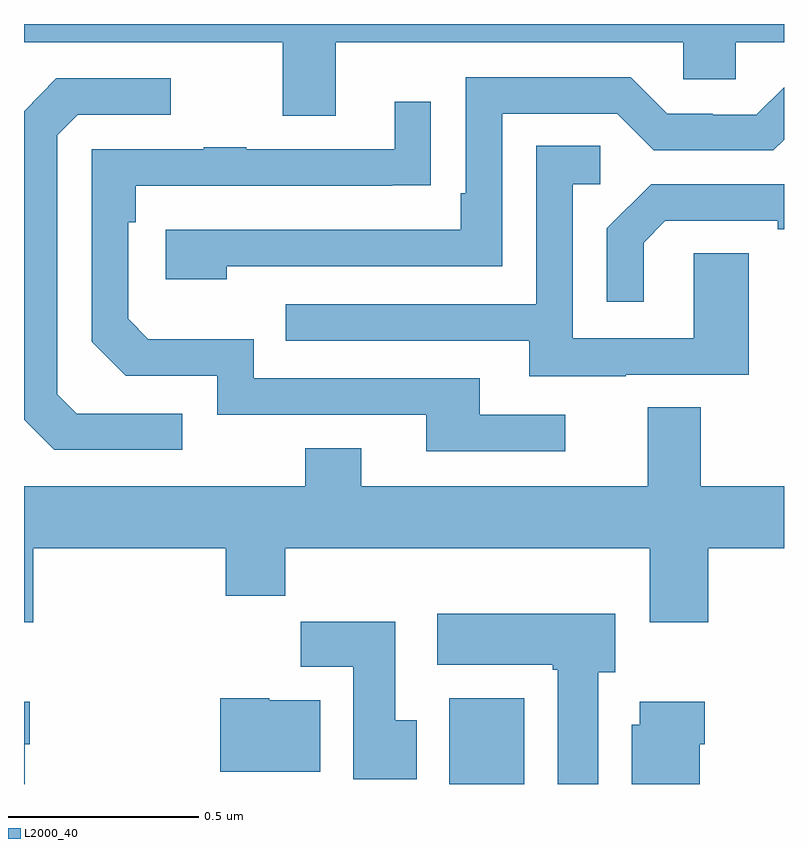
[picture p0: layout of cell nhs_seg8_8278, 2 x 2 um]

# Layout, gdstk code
import gdstk
lib = gdstk.Library(unit=1e-6, precision=1e-09)
def R(c, l, rs):  # rectangles x0, y0, x1, y1
    for r in rs: c.add(gdstk.rectangle(r[:2], r[2:], *l))
def P(c, l, *ps):  # polygons
    for p in ps: c.add(gdstk.Polygon(p, *l))
L2000_40 = (2000, 40)

nhs_seg8_8278 = lib.new_cell('nhs_seg8_8278')
R(nhs_seg8_8278, L2000_40, [(222.119,1095.9,222.316,1096.126)])
P(nhs_seg8_8278, L2000_40, [(221.821,1097.852),(222.735,1097.852),(222.735,1097.754),(222.873,1097.754),(222.873,1097.852),(223,1097.852),(223,1097.9),(221,1097.9),(221,1097.852),(221.681,1097.852),(221.681,1097.658),(221.821,1097.658)],
  [(221.534,1097.262),(222.258,1097.262),(222.258,1097.664),(222.561,1097.664),(222.657,1097.568),(222.972,1097.568),(223,1097.596),(223,1097.734),(222.927,1097.661),(222.812,1097.661),(222.812,1097.664),(222.693,1097.664),(222.597,1097.76),(222.162,1097.76),(222.162,1097.455),(222.149,1097.455),(222.149,1097.358),(221.373,1097.358),(221.373,1097.228),(221.534,1097.228)],
  [(221.416,1096.875),(221.139,1096.875),(221.088,1096.926),(221.088,1097.607),(221.142,1097.661),(221.386,1097.661),(221.386,1097.757),(221.085,1097.757),(221,1097.671),(221,1096.858),(221.079,1096.779),(221.416,1096.779)],
  [(222.424,1096.872),(222.199,1096.872),(222.199,1096.968),(221.604,1096.968),(221.604,1097.071),(221.327,1097.071),(221.274,1097.124),(221.274,1097.378),(221.294,1097.378),(221.294,1097.475),(221.969,1097.475),(221.969,1097.476),(222.071,1097.476),(222.071,1097.695),(221.975,1097.695),(221.975,1097.571),(221.585,1097.571),(221.585,1097.576),(221.473,1097.576),(221.473,1097.571),(221.178,1097.571),(221.178,1097.064),(221.268,1096.974),(221.508,1096.974),(221.508,1096.872),(222.059,1096.872),(222.059,1096.776),(222.424,1096.776)],
  [(222.583,1096.977),(222.907,1096.977),(222.907,1097.297),(222.762,1097.297),(222.762,1097.073),(222.444,1097.073),(222.444,1097.478),(222.517,1097.478),(222.517,1097.579),(222.348,1097.579),(222.348,1097.163),(221.689,1097.163),(221.689,1097.067),(222.329,1097.067),(222.329,1096.973),(222.583,1096.973)],
  [(222.631,1097.325),(222.688,1097.382),(222.983,1097.382),(222.983,1097.36),(223,1097.36),(223,1097.478),(222.65,1097.478),(222.534,1097.362),(222.534,1097.169),(222.631,1097.169)],
  [(221.024,1096.52),(221.531,1096.52),(221.531,1096.396),(221.687,1096.396),(221.687,1096.52),(222.647,1096.52),(222.647,1096.326),(222.8,1096.326),(222.8,1096.52),(223,1096.52),(223,1096.684),(222.781,1096.684),(222.781,1096.892),(222.641,1096.892),(222.641,1096.684),(221.887,1096.684),(221.887,1096.783),(221.74,1096.783),(221.74,1096.684),(221,1096.684),(221,1096.326),(221.024,1096.326)],
  [(222.511,1096.194),(222.556,1096.194),(222.556,1096.348),(222.087,1096.348),(222.087,1096.214),(222.391,1096.214),(222.391,1096.201),(222.404,1096.201),(222.404,1095.9),(222.511,1095.9)],
  [(222.034,1096.068),(221.977,1096.068),(221.977,1096.327),(221.728,1096.327),(221.728,1096.208),(221.867,1096.208),(221.867,1095.912),(222.034,1095.912)],
  [(221.779,1096.12),(221.646,1096.12),(221.646,1096.126),(221.516,1096.126),(221.516,1095.932),(221.779,1095.932)],
  [(221.002,1096.004),(221.015,1096.004),(221.015,1096.117),(221,1096.117),(221,1095.9),(221.002,1095.9)],
  [(222.778,1096.004),(222.791,1096.004),(222.791,1096.117),(222.62,1096.117),(222.62,1096.056),(222.599,1096.056),(222.599,1095.9),(222.778,1095.9)])

lib.write_gds('nhs_seg8_8278.gds')
